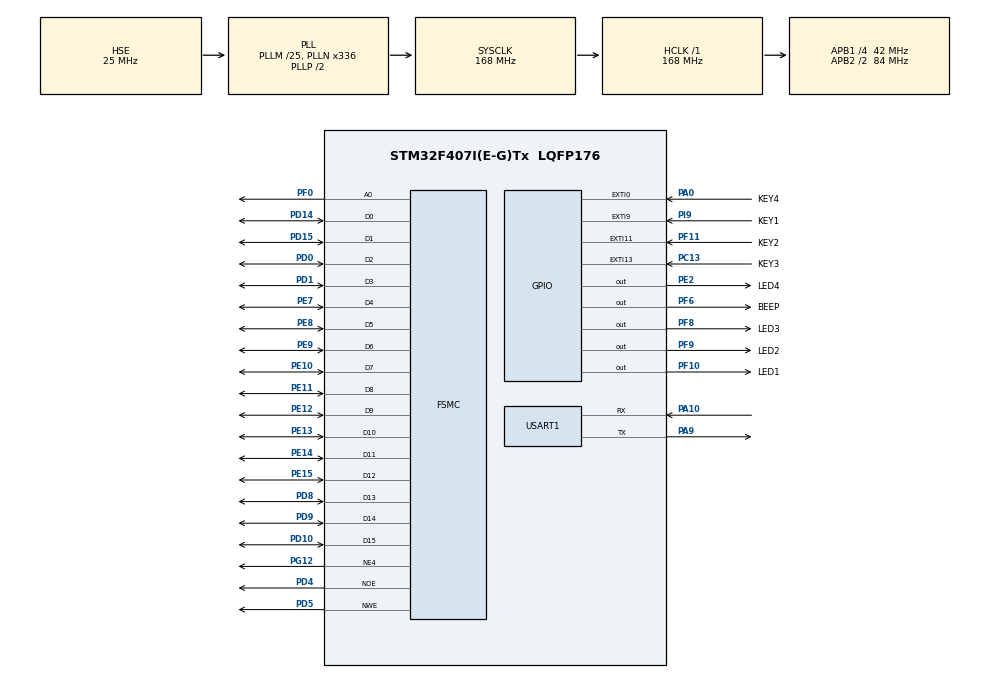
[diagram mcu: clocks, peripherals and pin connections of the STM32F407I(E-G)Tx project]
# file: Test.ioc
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Mcu.Family=STM32F4
Mcu.Name=STM32F407I(E-G)Tx
Mcu.Package=LQFP176
NVIC.EXTI0_IRQn=true\:0\:0\:false\:false\:true\:true\:true\:true
NVIC.EXTI15_10_IRQn=true\:0\:0\:false\:false\:true\:true\:true\:true
NVIC.EXTI9_5_IRQn=true\:0\:0\:false\:false\:true\:true\:true\:true
NVIC.PriorityGroup=NVIC_PRIORITYGROUP_4
NVIC.TIM2_IRQn=true\:0\:0\:false\:false\:true\:true\:true\:true
NVIC.USART1_IRQn=true\:0\:0\:false\:false\:true\:true\:true\:true
PA0-WKUP.GPIO_Label=KEY4
PA0-WKUP.Signal=GPXTI0
PA10.Mode=Asynchronous
PA10.Signal=USART1_RX
PA13.Mode=Serial_Wire
PA13.Signal=SYS_JTMS-SWDIO
PA14.Mode=Serial_Wire
PA14.Signal=SYS_JTCK-SWCLK
PA9.Mode=Asynchronous
PA9.Signal=USART1_TX
PC13-ANTI_TAMP.GPIO_Label=KEY3
PC13-ANTI_TAMP.Signal=GPXTI13
PD0.Signal=FSMC_D2_DA2
PD1.Signal=FSMC_D3_DA3
PD10.Signal=FSMC_D15_DA15
PD14.Signal=FSMC_D0_DA0
PD15.Signal=FSMC_D1_DA1
PD4.Signal=FSMC_NOE
PD5.Signal=FSMC_NWE
PD8.Signal=FSMC_D13_DA13
PD9.Signal=FSMC_D14_DA14
PE10.Signal=FSMC_D7_DA7
PE11.Signal=FSMC_D8_DA8
PE12.Signal=FSMC_D9_DA9
PE13.Signal=FSMC_D10_DA10
PE14.Signal=FSMC_D11_DA11
PE15.Signal=FSMC_D12_DA12
PE2.GPIO_Label=LED4
PE2.Signal=GPIO_Output
PE7.Signal=FSMC_D4_DA4
PE8.Signal=FSMC_D5_DA5
PE9.Signal=FSMC_D6_DA6
PF0.Signal=FSMC_A0
PF10.GPIO_Label=LED1
PF10.Signal=GPIO_Output
PF11.GPIO_Label=KEY2
PF11.Signal=GPXTI11
PF6.GPIO_Label=BEEP
PF6.Signal=GPIO_Output
PF8.GPIO_Label=LED3
PF8.Signal=GPIO_Output
PF9.GPIO_Label=LED2
PF9.Signal=GPIO_Output
PG12.Mode=NorPsramChipSelect4_1
PG12.Signal=FSMC_NE4
PH0-OSC_IN.Mode=HSE-External-Oscillator
PH0-OSC_IN.Signal=RCC_OSC_IN
PH1-OSC_OUT.Mode=HSE-External-Oscillator
PH1-OSC_OUT.Signal=RCC_OSC_OUT
PI9.GPIO_Label=KEY1
PI9.Signal=GPXTI9
ProjectManager.HeapSize=0x200
ProjectManager.StackSize=0x400
ProjectManager.TargetToolchain=MDK-ARM V5
RCC.48MHZClocksFreq_Value=84000000
RCC.AHBFreq_Value=168000000
RCC.APB1CLKDivider=RCC_HCLK_DIV4
RCC.APB1Freq_Value=42000000
RCC.APB1TimFreq_Value=84000000
RCC.APB2CLKDivider=RCC_HCLK_DIV2
RCC.APB2Freq_Value=84000000
RCC.APB2TimFreq_Value=168000000
RCC.CortexFreq_Value=168000000
RCC.HCLKFreq_Value=168000000
RCC.HSE_VALUE=25000000
RCC.HSI_VALUE=16000000
RCC.LSE_VALUE=32768
RCC.PLLM=25
RCC.PLLN=336
RCC.PLLSourceVirtual=RCC_PLLSOURCE_HSE
RCC.SYSCLKFreq_VALUE=168000000
RCC.SYSCLKSource=RCC_SYSCLKSOURCE_PLLCLK
RCC.VCOOutputFreq_Value=336000000
SH.FSMC_A0.0=FSMC_A0,A0_1
SH.FSMC_D0_DA0.0=FSMC_D0,16b-d1
SH.FSMC_D10_DA10.0=FSMC_D10,16b-d1
SH.FSMC_D11_DA11.0=FSMC_D11,16b-d1
SH.FSMC_D12_DA12.0=FSMC_D12,16b-d1
SH.FSMC_D13_DA13.0=FSMC_D13,16b-d1
SH.FSMC_D14_DA14.0=FSMC_D14,16b-d1
SH.FSMC_D15_DA15.0=FSMC_D15,16b-d1
SH.FSMC_D1_DA1.0=FSMC_D1,16b-d1
SH.FSMC_D2_DA2.0=FSMC_D2,16b-d1
SH.FSMC_D3_DA3.0=FSMC_D3,16b-d1
SH.FSMC_D4_DA4.0=FSMC_D4,16b-d1
SH.FSMC_D5_DA5.0=FSMC_D5,16b-d1
SH.FSMC_D6_DA6.0=FSMC_D6,16b-d1
SH.FSMC_D7_DA7.0=FSMC_D7,16b-d1
SH.FSMC_D8_DA8.0=FSMC_D8,16b-d1
SH.FSMC_D9_DA9.0=FSMC_D9,16b-d1
SH.FSMC_NOE.0=FSMC_NOE,Lcd1
SH.FSMC_NWE.0=FSMC_NWE,Lcd1
TIM2.Period=999
TIM2.Prescaler=83
USART1.VirtualMode=VM_ASYNC
VP_RTC_VS_RTC_Activate.Mode=RTC_Enabled
VP_RTC_VS_RTC_Calendar.Mode=RTC_Calendar
VP_TIM2_VS_ClockSourceINT.Mode=Internal
board=Test

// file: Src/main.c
/**
  ******************************************************************************
  * @file           : main.c
  * @brief          : Main program body
  ******************************************************************************
  ** This notice applies to any and all portions of this file
  * that are not between comment pairs USER CODE BEGIN and
  * USER CODE END. Other portions of this file, whether
  * inserted by the user or by software development tools
  * are owned by their respective copyright owners.
  *
  * COPYRIGHT(c) 2023 STMicroelectronics
  *
  * Redistribution and use in source and binary forms, with or without modification,
  * are permitted provided that the following conditions are met:
  *   1. Redistributions of source code must retain the above copyright notice,
  *      this list of conditions and the following disclaimer.
  *   2. Redistributions in binary form must reproduce the above copyright notice,
  *      this list of conditions and the following disclaimer in the documentation
  *      and/or other materials provided with the distribution.
  *   3. Neither the name of STMicroelectronics nor the names of its contributors
  *      may be used to endorse or promote products derived from this software
  *      without specific prior written permission.
  *
  * THIS SOFTWARE IS PROVIDED BY THE COPYRIGHT HOLDERS AND CONTRIBUTORS "AS IS"
  * AND ANY EXPRESS OR IMPLIED WARRANTIES, INCLUDING, BUT NOT LIMITED TO, THE
  * IMPLIED WARRANTIES OF MERCHANTABILITY AND FITNESS FOR A PARTICULAR PURPOSE ARE
  * DISCLAIMED. IN NO EVENT SHALL THE COPYRIGHT HOLDER OR CONTRIBUTORS BE LIABLE
  * FOR ANY DIRECT, INDIRECT, INCIDENTAL, SPECIAL, EXEMPLARY, OR CONSEQUENTIAL
  * DAMAGES (INCLUDING, BUT NOT LIMITED TO, PROCUREMENT OF SUBSTITUTE GOODS OR
  * SERVICES; LOSS OF USE, DATA, OR PROFITS; OR BUSINESS INTERRUPTION) HOWEVER
  * CAUSED AND ON ANY THEORY OF LIABILITY, WHETHER IN CONTRACT, STRICT LIABILITY,
  * OR TORT (INCLUDING NEGLIGENCE OR OTHERWISE) ARISING IN ANY WAY OUT OF THE USE
  * OF THIS SOFTWARE, EVEN IF ADVISED OF THE POSSIBILITY OF SUCH DAMAGE.
  *
  ******************************************************************************
  */
#include "main.h"
#include "stm32f4xx_hal.h"
#include "rtc.h"
#include "tim.h"
#include "usart.h"
#include "gpio.h"
#include "fsmc.h"

/* USER CODE BEGIN Includes */
#include "sys.h"
#include "delay.h"
#include "lcd.h"
#include "touch.h"
#include "pic.h"
/* USER CODE END Includes */

/* USER CODE BEGIN PV */
/* Private variables ---------------------------------------------------------*/

/* USER CODE END PV */
uint8_t Buff[30]; // 用于接收数据的缓冲区

void SystemClock_Config(void);

/* USER CODE BEGIN PFP */
/* Private function prototypes -----------------------------------------------*/

/* USER CODE END PFP */

/* USER CODE BEGIN 0 */
uint8_t touchflag = 0;
#define BEEP              	1
#define RELAY              	2
#define DCMOTOR             3
#define STREE								4
#define STEP								5
#define SPIFLASH						6
#define LED     						7
#define RFID								8
#define ALARM_NUMBER				2

const uint16_t origX = 20;
const uint16_t origY = 100;

int dateYearInt, dateMonthInt, dateDayInt, dateWeekdayInt;
int timeHourInt, timeMinuteInt, timeSecondInt;
int alarmEnableInt[ALARM_NUMBER], alarmHourInt[ALARM_NUMBER], alarmMinuteInt[ALARM_NUMBER];

uint8_t dateYearStr[5];
uint8_t dateMonthStr[5];
uint8_t dateDayStr[5];

const uint16_t dateYearWidth = 50;
const uint16_t dateMonthWidth = 36;
const uint16_t dateDayWidth = 36;

uint8_t timeHourStr[5];
uint8_t timeMinuteStr[5];
uint8_t timeSecondStr[5];

const uint16_t timeHourWidth = 25;
const uint16_t timeMinuteWidth = 36;
const uint16_t timeSecondWidth = 36;

uint8_t alarmEnableStr[ALARM_NUMBER][5];
uint8_t alarmHourStr[ALARM_NUMBER][5];
uint8_t alarmMinuteStr[ALARM_NUMBER][5];

const uint16_t alarmEnableWidth = 50;
const uint16_t alarmHourWidth = 25;
const uint16_t alarmMinuteWidth = 36;

#define MODE_CLOCK			0
#define MODE_SET_DATE		1
#define MODE_SET_TIME		2
#define MODE_SET_ALARM 	3
#define MODE_MAX        3
uint8_t modeInt = MODE_CLOCK;
uint8_t *modeStr[] = {
	"Clock    ",
	"SetDate  ",
	"SetTime  ",
	"SetAlarm "
};

int focusInt = 0;
int focusMax = 0;
uint16_t *focusPrev = NULL;
uint16_t *focusCurr = NULL;

uint16_t modePos[] = {0};

const uint16_t lineLabelWidth = 120;

uint16_t dateFocus[][3] =  {
	{origX + lineLabelWidth,                                  origY+50+20, dateYearWidth},
	{origX + lineLabelWidth + dateYearWidth, 					  		  origY+50+20, dateMonthWidth},
	{origX + lineLabelWidth + dateYearWidth + dateMonthWidth, origY+50+20, dateDayWidth}
};

uint16_t timeFocus[][3] = {
	{origX + lineLabelWidth,                                  origY+100+20, timeHourWidth},
	{origX + lineLabelWidth + timeHourWidth,                  origY+100+20, timeMinuteWidth},
	{origX + lineLabelWidth + timeHourWidth + timeMinuteWidth,origY+100+20, timeSecondWidth}
};

uint16_t alarmFocus[][3] = {
	{origX + lineLabelWidth,                                    origY+150+20, alarmEnableWidth},
	{origX + lineLabelWidth + alarmEnableWidth,                 origY+150+20, alarmHourWidth},
	{origX + lineLabelWidth + alarmEnableWidth + alarmHourWidth,origY+150+20, alarmMinuteWidth},
	{origX + lineLabelWidth,                                    origY+200+20, alarmEnableWidth},
	{origX + lineLabelWidth + alarmEnableWidth,                 origY+200+20, alarmHourWidth},
	{origX + lineLabelWidth + alarmEnableWidth + alarmHourWidth,origY+200+20, alarmMinuteWidth}
};

uint8_t setTimeFlag = 0;
uint8_t setDateFlag = 0;
uint8_t setAlarmFlag[ALARM_NUMBER] = {0};

uint8_t alarmFlag = 0;

uint8_t rtcDateStr[100] = {0};
uint8_t rtcTimeStr[100] = {0};

void Load_Drow_Dialog(void)
{
	LCD_Clear(WHITE);//清屏
 	POINT_COLOR=BLUE;//设置字体为蓝色
	LCD_ShowString(lcddev.width-24,0,200,16,16,"RST");//显示清屏区域
	//POINT_COLOR=RED;//设置画笔蓝色
}

////////////////////////////////////////////////////////////////////////////////
//电容触摸屏专有部分
//画水平线
//x0,y0:坐标
//len:线长度
//color:颜色
void gui_draw_hline(uint16_t x0,uint16_t y0,uint16_t len,uint16_t color)
{
	if(len==0)return;
	LCD_Fill(x0,y0,x0+len-1,y0,color);
}
//画实心圆
//x0,y0:坐标
//r:半径
//color:颜色
void gui_fill_circle(uint16_t x0,uint16_t y0,uint16_t r,uint16_t color)
{
	uint32_t i;
	uint32_t imax = ((uint32_t)r*707)/1000+1;
	uint32_t sqmax = (uint32_t)r*(uint32_t)r+(uint32_t)r/2;
	uint32_t x=r;
	gui_draw_hline(x0-r,y0,2*r,color);
	for (i=1;i<=imax;i++)
	{
		if ((i*i+x*x)>sqmax)// draw lines from outside
		{
 			if (x>imax)
			{
				gui_draw_hline (x0-i+1,y0+x,2*(i-1),color);
				gui_draw_hline (x0-i+1,y0-x,2*(i-1),color);
			}
			x--;
		}
		// draw lines from inside (center)
		gui_draw_hline(x0-x,y0+i,2*x,color);
		gui_draw_hline(x0-x,y0-i,2*x,color);
	}
}
//两个数之差的绝对值
//x1,x2：需取差值的两个数
//返回值：|x1-x2|
uint16_t my_abs(uint16_t x1,uint16_t x2)
{
	if(x1>x2)return x1-x2;
	else return x2-x1;
}
//画一条粗线
//(x1,y1),(x2,y2):线条的起始坐标
//size：线条的粗细程度
//color：线条的颜色
void lcd_draw_bline(uint16_t x1, uint16_t y1, uint16_t x2, uint16_t y2,uint8_t size,uint16_t color)
{
	uint16_t t;
	int xerr=0,yerr=0,delta_x,delta_y,distance;
	int incx,incy,uRow,uCol;
	if(x1<size|| x2<size||y1<size|| y2<size)return;
	delta_x=x2-x1; //计算坐标增量
	delta_y=y2-y1;
	uRow=x1;
	uCol=y1;
	if(delta_x>0)incx=1; //设置单步方向
	else if(delta_x==0)incx=0;//垂直线
	else {incx=-1;delta_x=-delta_x;}
	if(delta_y>0)incy=1;
	else if(delta_y==0)incy=0;//水平线
	else{incy=-1;delta_y=-delta_y;}
	if( delta_x>delta_y)distance=delta_x; //选取基本增量坐标轴
	else distance=delta_y;
	for(t=0;t<=distance+1;t++ )//画线输出
	{
		gui_fill_circle(uRow,uCol,size,color);//画点
		xerr+=delta_x ;
		yerr+=delta_y ;
		if(xerr>distance)
		{
			xerr-=distance;
			uRow+=incx;
		}
		if(yerr>distance)
		{
			yerr-=distance;
			uCol+=incy;
		}
	}
}
////////////////////////////////////////////////////////////////////////////////
 //5个触控点的颜色(电容触摸屏用)
const uint16_t POINT_COLOR_TBL[OTT_MAX_TOUCH]={RED,GREEN,BLUE,BROWN,GRED};

//电容触摸屏测试函数
void ctp_test(void)
{
	//uint8_t key;
	uint8_t t=0;
	//uint8_t i=0;
	//uint16_t line_x=0,line_y=0;
 	uint16_t lastpos[5][2];		//最后一次的数据
	while(1)
	{
		//key=KEY_Scan(0);
		tp_dev.scan(0);
		for(t=0;t<OTT_MAX_TOUCH;t++)
		{
			if((tp_dev.sta)&(1<<t))
			{
				if(tp_dev.x[t]<lcddev.width&&tp_dev.y[t]<lcddev.height)
				{
					if(lastpos[t][0]==0XFFFF)
					{
						lastpos[t][0] = tp_dev.x[t];
						lastpos[t][1] = tp_dev.y[t];
					}
					lcd_draw_bline(lastpos[t][0],lastpos[t][1],tp_dev.x[t],tp_dev.y[t],2,POINT_COLOR_TBL[t]);//画线
					lastpos[t][0]=tp_dev.x[t];
					lastpos[t][1]=tp_dev.y[t];
					//line_x=tp_dev.x[t];
					//line_y=tp_dev.y[t];
					if(tp_dev.x[t]>(lcddev.width-24)&&tp_dev.y[t]<20)
					{
						Load_Drow_Dialog();//清除
					}
				}
			}else lastpos[t][0]=0XFFFF;
		}
		delay_ms(5);
	}
}

/* USER CODE END 0 */

int main(void)
{

  /* MCU Configuration----------------------------------------------------------*/

  /* Reset of all peripherals, Initializes the Flash interface and the Systick. */
  HAL_Init();

  /* Configure the system clock */
  SystemClock_Config();

  /* Initialize all configured peripherals */
  MX_GPIO_Init();
  MX_USART1_UART_Init();
  MX_FSMC_Init();
  MX_RTC_Init();
  MX_TIM2_Init();

	HAL_GPIO_WritePin(LED1_GPIO_Port, LED1_Pin, GPIO_PIN_SET);
	HAL_GPIO_WritePin(LED2_GPIO_Port, LED2_Pin, GPIO_PIN_SET);
	HAL_GPIO_WritePin(LED3_GPIO_Port, LED3_Pin, GPIO_PIN_SET);
	HAL_GPIO_WritePin(LED4_GPIO_Port, LED4_Pin, GPIO_PIN_SET);

  /* USER CODE BEGIN 2 */
	uint8_t lcd_id[12];				//存放LCD ID字符串
	delay_init(168);  //初始化延时函数
 	LCD_Init();					//LCD初始化
	tp_dev.init();				//触摸屏初始化
	POINT_COLOR=BLUE;
	sprintf((char*)lcd_id,"ID:%04X",lcddev.id);//将LCD ID打印到lcd_id数组。
  LCD_ShowString(30,40,210,24,24,"STM32F407IGT6");
	LCD_ShowString(30,70,200,16,16,"TFTLCD TEST");
	LCD_ShowString(170,420,200,24,24,"FS_TFTLCD_V1.0");
 	LCD_ShowString(30,110,200,16,16,lcd_id);		//显示LCD ID
	//HAL_Delay(2000);
 	Load_Drow_Dialog();
	//LCD_DrawPicture(0,300,480,500,(uint8_t *)gImage_hqyj);

	//if(tp_dev.touchtype&0X80)ctp_test();//电容屏测试
  /* USER CODE END 2 */

  /* Infinite loop */
  /* USER CODE BEGIN WHILE */
	//初始化日期 时间
	RTC_DateTypeDef date;
	date.Year = 23;
	date.Month = 1;
	date.Date = 1;
	date.WeekDay = 3;
	HAL_RTC_SetDate(&hrtc, &date, RTC_FORMAT_BIN);

	RTC_TimeTypeDef time;
	time.Hours = 0;
	time.Minutes = 0;
	time.Seconds = 57;
	HAL_RTC_SetTime(&hrtc, &time, RTC_FORMAT_BIN);

	alarmEnableInt[0] = 1;
	alarmHourInt[0] = 0;
	alarmMinuteInt[0] = 1;

	alarmEnableInt[1] = 0;
	alarmHourInt[1] = 0;
	alarmMinuteInt[1] = 1;

	for(int i = 0; i < ALARM_NUMBER; i++) {
		sprintf((char*)alarmEnableStr[i], "%s", alarmEnableInt[i] ? "On ":"Off");
		sprintf((char*)alarmHourStr[i], "%02d", alarmHourInt[i]);
		sprintf((char*)alarmMinuteStr[i], ":%02d", alarmMinuteInt[i]);
	}

	HAL_TIM_Base_Start_IT(&htim2);

	LCD_ShowString(origX, origY,     lineLabelWidth, 24, 24, "Mode    :");
	LCD_ShowString(origX, origY+50,  lineLabelWidth, 24, 24, "Date    :");
	LCD_ShowString(origX, origY+100, lineLabelWidth, 24, 24, "Time    :");
	LCD_ShowString(origX, origY+150, lineLabelWidth, 24, 24, "Alarm   :");
	LCD_ShowString(origX, origY+450, lineLabelWidth, 24, 24, "RTC Date:");
	LCD_ShowString(origX, origY+500, lineLabelWidth, 24, 24, "RTC Time:");

	/*
	char keyStr[5];
	for (int i = 0; i < 4; i++) {
		sprintf(keyStr, "Key%d", i+1);
		LCD_DrawRectangle(origX + i*120, origY+500, origX + i*120 + 80, origY+500+100);
		LCD_ShowString(origX + i*120 + 20, origY+500+40, 60, 24, 24, (uint8_t*)keyStr);
	}*/

	////////////////////////////////////////////////////////////
	while (1)
  {

  /* USER CODE END WHILE */
  /* USER CODE BEGIN 3 */

		if (setTimeFlag) {
			RTC_TimeTypeDef time;
			time.Hours = timeHourInt;
			time.Minutes = timeMinuteInt;
			time.Seconds = timeSecondInt;
			HAL_RTC_SetTime(&hrtc, &time, RTC_FORMAT_BIN);
			setTimeFlag = 0;
		}
		if (setDateFlag) {
			RTC_DateTypeDef date;
			date.Year = dateYearInt;
			date.Month = dateMonthInt;
			date.Date = dateDayInt;
			date.WeekDay = dateWeekdayInt;
			HAL_RTC_SetDate(&hrtc, &date, RTC_FORMAT_BIN);
			setDateFlag = 0;
		}

		if (focusPrev) {
			LCD_Fill(focusPrev[0], focusPrev[1], focusPrev[0]+focusPrev[2], focusPrev[1]+1, WHITE);
			focusPrev = NULL;
		}
		if (MODE_CLOCK != modeInt) {
			LCD_Fill(focusCurr[0], focusCurr[1], focusCurr[0]+focusCurr[2], focusCurr[1]+1, BLACK);
		}

		LCD_ShowString(origX + lineLabelWidth, origY, 200, 24, 24, modeStr[modeInt]);

		LCD_ShowString(origX + lineLabelWidth,                                  origY+50,  dateYearWidth,  24, 24, dateYearStr);
		LCD_ShowString(origX + lineLabelWidth + dateYearWidth,                  origY+50,  dateMonthWidth, 24, 24, dateMonthStr);
		LCD_ShowString(origX + lineLabelWidth + dateYearWidth + dateMonthWidth, origY+50,  dateDayWidth,   24, 24, dateDayStr);

		LCD_ShowString(origX + lineLabelWidth,                                  origY+100, timeHourWidth,  24, 24, timeHourStr);
		LCD_ShowString(origX + lineLabelWidth + timeHourWidth,                  origY+100, timeMinuteWidth,24, 24, timeMinuteStr);
		LCD_ShowString(origX + lineLabelWidth + timeHourWidth + timeMinuteWidth,origY+100, timeSecondWidth,24, 24, timeSecondStr);

		for(int i = 0; i < ALARM_NUMBER; i++) {
			LCD_ShowString(origX + lineLabelWidth,                                    origY+150+50*i, alarmEnableWidth,24, 24, alarmEnableStr[i]);
			LCD_ShowString(origX + lineLabelWidth + alarmEnableWidth,                 origY+150+50*i, alarmHourWidth,  24, 24, alarmHourStr[i]);
			LCD_ShowString(origX + lineLabelWidth + alarmEnableWidth + alarmHourWidth,origY+150+50*i, alarmMinuteWidth,24, 24, alarmMinuteStr[i]);

		}

		LCD_ShowString(origX + lineLabelWidth, origY+450, 300, 24, 24, rtcDateStr);
		LCD_ShowString(origX + lineLabelWidth, origY+500, 300, 24, 24, rtcTimeStr);

		//HAL_UART_Receive_IT(&huart1, Buff, 1);//中断方式接收，中断回调函数里发送Buff
		HAL_UART_Receive_IT(&huart1, Buff, 30);

		delay_ms(5);

  }
  /* USER CODE END 3 */

}

void SystemClock_Config(void)
{

  RCC_OscInitTypeDef RCC_OscInitStruct;
  RCC_ClkInitTypeDef RCC_ClkInitStruct;
  RCC_PeriphCLKInitTypeDef PeriphClkInitStruct;

    /**Configure the main internal regulator output voltage
    */
  __HAL_RCC_PWR_CLK_ENABLE();

  __HAL_PWR_VOLTAGESCALING_CONFIG(PWR_REGULATOR_VOLTAGE_SCALE1);

    /**Initializes the CPU, AHB and APB busses clocks
    */
  RCC_OscInitStruct.OscillatorType = RCC_OSCILLATORTYPE_LSI|RCC_OSCILLATORTYPE_HSE;
  RCC_OscInitStruct.HSEState = RCC_HSE_ON;
  RCC_OscInitStruct.LSIState = RCC_LSI_ON;
  RCC_OscInitStruct.PLL.PLLState = RCC_PLL_ON;
  RCC_OscInitStruct.PLL.PLLSource = RCC_PLLSOURCE_HSE;
  RCC_OscInitStruct.PLL.PLLM = 25;
  RCC_OscInitStruct.PLL.PLLN = 336;
  RCC_OscInitStruct.PLL.PLLP = RCC_PLLP_DIV2;
  RCC_OscInitStruct.PLL.PLLQ = 4;
  if (HAL_RCC_OscConfig(&RCC_OscInitStruct) != HAL_OK)
  {
    _Error_Handler(__FILE__, __LINE__);
  }

    /**Initializes the CPU, AHB and APB busses clocks
    */
  RCC_ClkInitStruct.ClockType = RCC_CLOCKTYPE_HCLK|RCC_CLOCKTYPE_SYSCLK
                              |RCC_CLOCKTYPE_PCLK1|RCC_CLOCKTYPE_PCLK2;
  RCC_ClkInitStruct.SYSCLKSource = RCC_SYSCLKSOURCE_PLLCLK;
  RCC_ClkInitStruct.AHBCLKDivider = RCC_SYSCLK_DIV1;
  RCC_ClkInitStruct.APB1CLKDivider = RCC_HCLK_DIV4;
  RCC_ClkInitStruct.APB2CLKDivider = RCC_HCLK_DIV2;

  if (HAL_RCC_ClockConfig(&RCC_ClkInitStruct, FLASH_LATENCY_5) != HAL_OK)
  {
    _Error_Handler(__FILE__, __LINE__);
  }

  PeriphClkInitStruct.PeriphClockSelection = RCC_PERIPHCLK_RTC;
  PeriphClkInitStruct.RTCClockSelection = RCC_RTCCLKSOURCE_LSI;
  if (HAL_RCCEx_PeriphCLKConfig(&PeriphClkInitStruct) != HAL_OK)
  {
    _Error_Handler(__FILE__, __LINE__);
  }

    /**Configure the Systick interrupt time
    */
  HAL_SYSTICK_Config(HAL_RCC_GetHCLKFreq()/1000);

    /**Configure the Systick
    */
  HAL_SYSTICK_CLKSourceConfig(SYSTICK_CLKSOURCE_HCLK);

  /* SysTick_IRQn interrupt configuration */
  HAL_NVIC_SetPriority(SysTick_IRQn, 0, 0);
}

/* USER CODE BEGIN 4 */

//用户中断接收回调函数如下
//////////////////////////////have problem/////////////////////////////////////////
void HAL_UART_RxCpltCallback(UART_HandleTypeDef *huart)
{
	//处理发送的信息
	/*
	if (huart->Instance == USART1) // 确认是正确的UART实例
			{
        messageBuffer[messageLength] = Buff[0]; // 将接收到的数据添加到消息缓冲区
        messageLength++; // 增加消息长度

        if (messageLength == 14)
        {
            // 执行对应的程序
						int alarmNum;
						int hour;
						int minute;
						if(sscanf((char*)Buff, "alarm %d %d:%d",&alarmNum, &hour, &minute)){
							alarmEnableInt[alarmNum-1] = 1;
							alarmHourInt[alarmNum-1] = hour;
							alarmMinuteInt[alarmNum-1] = minute;
							sprintf((char*)alarmEnableStr[alarmNum-1], "%s", alarmEnableInt[alarmNum-1] ? "On":"Off");
							sprintf((char*)alarmHourStr[alarmNum-1], "%02d", alarmHourInt[alarmNum-1]);
							sprintf((char*)alarmMinuteStr[alarmNum-1], ":%02d", alarmMinuteInt[alarmNum-1]);

						}
        }

        HAL_UART_Receive_IT(&huart1, Buff, 1);
    }*/
		//HAL_UART_Transmit(&huart1,messageBuffer ,30, 100);
  HAL_UART_Transmit(&huart1,Buff , sizeof(Buff), 100);
	int alarmNum;
	int hour;
	int minute;
	if(sscanf((char*)Buff, "now 20%d-%d-%d %d:%d:%d %d", &dateYearInt, &dateMonthInt, &dateDayInt, &timeHourInt, &timeMinuteInt, &timeSecondInt, &dateWeekdayInt)){
		printf("change");
		setDateFlag=1;
		setTimeFlag=1;
		sprintf((char*)dateDayStr, "-%02d", dateDayInt);
		sprintf((char*)dateMonthStr, "-%02d", dateMonthInt);
		sprintf((char*)dateYearStr, "20%02d", dateYearInt);

		sprintf((char*)timeHourStr, "%02d", timeHourInt);
		sprintf((char*)timeMinuteStr, ":%02d", timeMinuteInt);
		sprintf((char*)timeSecondStr, ":%02d", timeSecondInt);
	}

	else if(sscanf((char*)Buff, "alarm %d %d:%d",&alarmNum, &hour, &minute)==3){
		printf("add %d",alarmNum);
		alarmEnableInt[alarmNum-1] = 1;
		alarmHourInt[alarmNum-1] = hour;
		alarmMinuteInt[alarmNum-1] = minute;
		sprintf((char*)alarmEnableStr[alarmNum-1], "%s", alarmEnableInt[alarmNum-1] ? "On ":"Off");
		sprintf((char*)alarmHourStr[alarmNum-1], "%02d", alarmHourInt[alarmNum-1]);
		sprintf((char*)alarmMinuteStr[alarmNum-1], ":%02d", alarmMinuteInt[alarmNum-1]);

	}
	else if(sscanf((char*)Buff, "alarm %d delete",&alarmNum)){
		printf("delete %d",alarmNum);
		alarmEnableInt[alarmNum-1] = 0;
		sprintf((char*)alarmEnableStr[alarmNum-1], "%s", alarmEnableInt[alarmNum-1] ? "On ":"Off");
	}

}

int fputc(int ch, FILE *f)
{
  uint8_t tmp[1]={0};
	tmp[0] = (uint8_t)ch;
	HAL_UART_Transmit(&huart1,tmp,1,10);
	return ch;
}

//按键操作
void HAL_GPIO_EXTI_Callback(uint16_t GPIO_Pin)
{
	if (GPIO_Pin == KEY1_Pin) {
		if (HAL_GPIO_ReadPin(KEY1_GPIO_Port, KEY1_Pin) == GPIO_PIN_SET) {
			printf("Key1\r\n");
			if (MODE_SET_TIME == modeInt) {
				setTimeFlag = 1;
			}
			if (MODE_SET_DATE == modeInt) {
				setDateFlag = 1;
			}

			modeInt++;
			if (MODE_MAX < modeInt) {
				modeInt = 0;
			}
			focusInt = 0;
			focusPrev = focusCurr;
			if (MODE_SET_DATE == modeInt) {
				focusCurr = dateFocus[0];
				focusMax = 3;
			}
			else if (MODE_SET_TIME == modeInt) {
				focusCurr = timeFocus[0];
				focusMax = 3;
			}
			else if (MODE_SET_ALARM == modeInt) {
				focusCurr = alarmFocus[0];
				focusMax = 3 * ALARM_NUMBER;
			}
		}
	}
	else if (GPIO_Pin == KEY2_Pin)
	{
		if (HAL_GPIO_ReadPin(KEY2_GPIO_Port, KEY2_Pin) == GPIO_PIN_SET) {
			printf("Key2\r\n");
			if (MODE_CLOCK != modeInt) {
				focusPrev = focusCurr;
				focusInt++;
				if (focusMax == focusInt) {
					focusInt = 0;
				}
				if (MODE_SET_DATE == modeInt) {
					focusCurr = dateFocus[focusInt];
				}
				else if (MODE_SET_TIME == modeInt) {
					focusCurr = timeFocus[focusInt];
				}
				else if (MODE_SET_ALARM == modeInt) {
					focusCurr = alarmFocus[focusInt];
				}
			}
		}
	}
	else if (GPIO_Pin == KEY3_Pin)
	{
		if (HAL_GPIO_ReadPin(KEY3_GPIO_Port, KEY3_Pin) == GPIO_PIN_SET) {
			printf("Key3\r\n");
			if (MODE_SET_DATE == modeInt) {
				if (0 == focusInt && 0 < dateYearInt) {
					dateYearInt--;
				}
				if (1 == focusInt && 0 < dateMonthInt) {
					dateMonthInt--;
				}
				if (2 == focusInt && 0 < dateDayInt) {
					dateDayInt--;
				}
				sprintf((char*)dateDayStr, "-%02d", dateDayInt);
				sprintf((char*)dateMonthStr, "-%02d", dateMonthInt);
				sprintf((char*)dateYearStr, "20%02d", dateYearInt);
			}
			if (MODE_SET_TIME == modeInt) {
				if (0 == focusInt && 0 < timeHourInt) {
					timeHourInt--;
				}
				if (1 == focusInt && 0 < timeMinuteInt) {
					timeMinuteInt--;
				}
				if (2 == focusInt && 0 < timeSecondInt) {
					timeSecondInt--;
				}
				sprintf((char*)timeHourStr, "%02d", timeHourInt);
				sprintf((char*)timeMinuteStr, ":%02d", timeMinuteInt);
				sprintf((char*)timeSecondStr, ":%02d", timeSecondInt);
			}
			if (MODE_SET_ALARM == modeInt) {
				for(int i = 0; i < ALARM_NUMBER; i++) {
					if ((0 + 3*i) == focusInt){
						alarmEnableInt[i] ^= 1;
					}
					if ((1 + 3*i) == focusInt && 0 < alarmHourInt[i]){
						alarmHourInt[i]--;
					}
					if ((2 + 3*i) == focusInt && 0 < alarmMinuteInt[i]){
						alarmMinuteInt[i]--;
					}
					sprintf((char*)alarmEnableStr[i], "%s", alarmEnableInt[i] ? "On ":"Off");
					sprintf((char*)alarmHourStr[i], "%02d", alarmHourInt[i]);
					sprintf((char*)alarmMinuteStr[i], ":%02d", alarmMinuteInt[i]);
				}

			}
		}
	}
	else if (GPIO_Pin == KEY4_Pin)
	{
		if (HAL_GPIO_ReadPin(KEY4_GPIO_Port, KEY4_Pin) == GPIO_PIN_SET) {
			printf("Key4\r\n");
			if (MODE_SET_DATE == modeInt) {
				if (0 == focusInt ) {
					dateYearInt++;
				}
				if (1 == focusInt && 13 > dateMonthInt) {
					dateMonthInt++;
				}
				if (2 == focusInt && 32 > dateDayInt) {
					dateDayInt++;

				}
				sprintf((char*)dateDayStr, "-%02d", dateDayInt);
				sprintf((char*)dateMonthStr, "-%02d", dateMonthInt);
				sprintf((char*)dateYearStr, "20%02d", dateYearInt);
			}
			if (MODE_SET_TIME == modeInt) {
				if (0 == focusInt && 23 > timeHourInt) {
					timeHourInt++;
				}
				if (1 == focusInt && 59 > timeMinuteInt) {
					timeMinuteInt++;
				}
				if (2 == focusInt && 59 > timeSecondInt) {
					timeSecondInt++;
				}
				sprintf((char*)timeHourStr, "%02d", timeHourInt);
				sprintf((char*)timeMinuteStr, ":%02d", timeMinuteInt);
				sprintf((char*)timeSecondStr, ":%02d", timeSecondInt);
			}
			if (MODE_SET_ALARM == modeInt) {
				for(int i = 0; i < ALARM_NUMBER; i++) {
					if ((0 + 3*i) == focusInt){
						alarmEnableInt[i] ^= 1;
					}
					if ((1 + 3*i) == focusInt && 23 > alarmHourInt[i]){
						alarmHourInt[i]++;
					}
					if ((2 + 3*i) == focusInt && 59 > alarmMinuteInt[i]){
						alarmMinuteInt[i]++;
					}
					sprintf((char*)alarmEnableStr[i], "%s", alarmEnableInt[i] ? "On ":"Off");
					sprintf((char*)alarmHourStr[i], "%02d", alarmHourInt[i]);
					sprintf((char*)alarmMinuteStr[i], ":%02d", alarmMinuteInt[i]);
				}

			}
		}
	}
}

void HAL_SYSTICK_Callback(void)
{
	static int tickCnt = 0;
	static int secondCnt = 0;
	tickCnt++;
	if (tickCnt == 1000) {
		tickCnt = 0;
		secondCnt++;
		//printf("SysTick second=%d\r\n", secondCnt);

		RTC_TimeTypeDef time;
		HAL_RTC_GetTime(&hrtc, &time, RTC_FORMAT_BIN);
		RTC_DateTypeDef date;
		HAL_RTC_GetDate(&hrtc, &date, RTC_FORMAT_BIN);

		for(int i = 0; i < ALARM_NUMBER; i++) {
			if (time.Hours == alarmHourInt[i] && time.Minutes == alarmMinuteInt[i] && 00 == time.Seconds) {
				alarmFlag = 5;
			}
			sprintf((char*)rtcDateStr, "20%02d-%02d-%02d Weekday(%d)", date.Year, date.Month, date.Date, date.WeekDay);
			sprintf((char*)rtcTimeStr, "%02d:%02d:%02d", time.Hours, time.Minutes, time.Seconds);

			if (MODE_CLOCK == modeInt) {
				sprintf((char*)dateYearStr, "20%02d", date.Year);
				sprintf((char*)dateMonthStr, "-%02d", date.Month);
				sprintf((char*)dateDayStr, "-%02d", date.Date);

				sprintf((char*)timeHourStr, "%02d", time.Hours);
				sprintf((char*)timeMinuteStr, ":%02d", time.Minutes);
				sprintf((char*)timeSecondStr, ":%02d", time.Seconds);

			}
		}

		//printf("RTC 20%02d-%02d-%02d %02d:%02d:%02d weekday=%d\r\n", date.Year, date.Month, date.Date, time.Hours, time.Minutes, time.Seconds, date.WeekDay);
	}
}

void HAL_TIM_PeriodElapsedCallback(TIM_HandleTypeDef *htim)
{
	static int tim2Cnt = 0;
	static int secondCnt = 0;
	static int led_flash = 0;
	//static int beep = 0;
  /* Prevent unused argument(s) compilation warning */
  //UNUSED(htim);
	if (htim->Instance == TIM2) {
		if (alarmFlag) {
			led_flash++;
			if(led_flash==500){
				led_flash=0;
				printf("----alarm----");
				HAL_GPIO_TogglePin(LED1_GPIO_Port, LED1_Pin);
			}
			//HAL_GPIO_TogglePin(BEEP_GPIO_Port, BEEP_Pin);
			#if 0
			beep = 1 - beep;
			if (beep) {
				HAL_GPIO_WritePin(BEEP_GPIO_Port, BEEP_Pin, GPIO_PIN_RESET);
			} else {
				HAL_GPIO_WritePin(BEEP_GPIO_Port, BEEP_Pin, GPIO_PIN_SET);
			}
			#endif
		}
		tim2Cnt++;
		if (tim2Cnt == 1000) {
			tim2Cnt = 0;
			secondCnt++;
			if (alarmFlag) {
				alarmFlag--;
				if(!alarmFlag){
					HAL_GPIO_WritePin(LED1_GPIO_Port, LED1_Pin, GPIO_PIN_SET);
				}
			}
			//printf("TIM second=%d\r\n", secondCnt);
		}
	}
}

/* USER CODE END 4 */

void _Error_Handler(char *file, int line)
{
  while(1)
  {
  }
}

/************************ (C) COPYRIGHT STMicroelectronics *****END OF FILE****/
